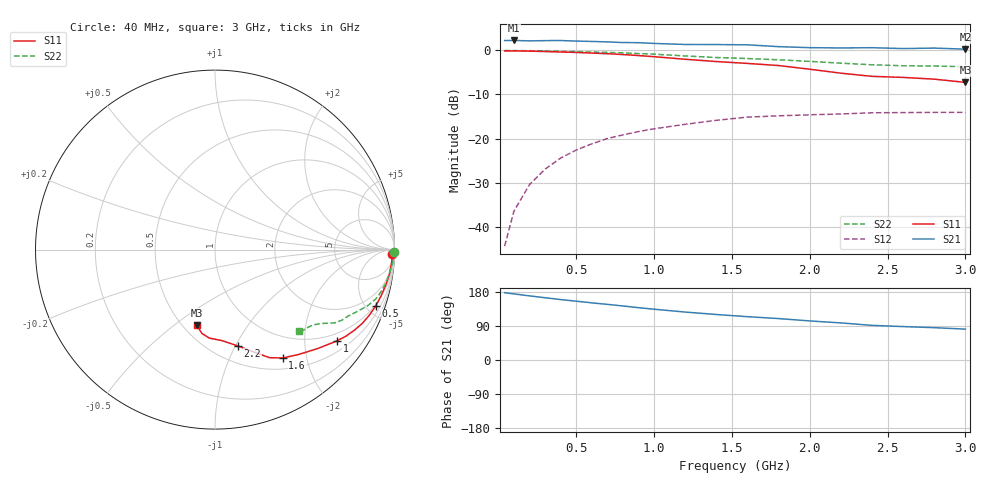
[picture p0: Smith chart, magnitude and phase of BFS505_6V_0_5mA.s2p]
! Filename:  BFS505G.S2P  Version:  4.0
! Philips part #: BFS505  Date: Jun 1994
! Bias condition: Vce=6V, Ic=0.5mA
#  MHz  S  MA  R  50
! Freq  S11  S21  S12  S22  !GUM [dB]
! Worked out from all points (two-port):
!   21 points, 40 MHz to 3 GHz, reference 50 ohm
!   highest |S21| = 2.27 dB at 100 MHz (marker M1); lowest = 0.3 dB at 3 GHz (marker M2)
!   |S21| within 3 dB of the highest: start of sweep to end of sweep
!   lowest |S11| = -7.3 dB at 3 GHz (marker M3), VSWR 2.53, Z = 29.2 - j30.4 ohm
!   |S11| at or under -10 dB: nowhere
!   |S22| runs from -3.7 to 0.0 dB; largest |S21 - S12| = 1.3
!   S11 on the Smith chart (normalised r, x): 40 MHz: 29, -63; 500 MHz: 0.90, -5.71; 1 GHz: 0.77, -2.82; 1.6 GHz: 0.66, -1.61; 2.2 GHz: 0.66, -1.02; 3 GHz: 0.58, -0.61
40  0.988 -1.5  1.295 177.7  0.006 88.8  0.998 -0.9
100  0.987 -3.9  1.298 174.4  0.015 85.7  0.997 -2.2
200  0.982 -7.8  1.284 169.2  0.03 82.3  0.992 -4.5
300  0.972 -11.7  1.292 164.3  0.045 79.3  0.984 -6.7
400  0.96 -15.7  1.296 159.5  0.06 76.9  0.976 -9.0
500  0.949 -19.4  1.277 155.2  0.074 74.3  0.969 -11.2
600  0.934 -23.1  1.265 150.8  0.087 72.0  0.959 -13.3
700  0.918 -26.6  1.25 146.8  0.1 69.9  0.949 -15.2
800  0.898 -29.9  1.229 142.6  0.11 67.6  0.938 -16.9
900  0.875 -33.4  1.225 138.1  0.12 64.9  0.922 -18.6
1000  0.849 -36.8  1.201 134.0  0.129 62.3  0.907 -20.1
1200  0.794 -44.0  1.169 126.5  0.145 57.2  0.866 -23.4
1400  0.748 -51.3  1.166 120.1  0.161 53.7  0.831 -26.3
1600  0.712 -58.0  1.158 114.3  0.175 50.4  0.809 -29.1
1800  0.674 -63.3  1.104 109.3  0.181 48.1  0.783 -31.4
2000  0.612 -69.0  1.075 103.1  0.186 45.6  0.751 -33.1
2200  0.552 -76.6  1.067 97.9  0.19 43.5  0.717 -35.1
2400  0.508 -85.8  1.074 91.4  0.196 41.4  0.687 -37.8
2600  0.494 -93.7  1.05 88.2  0.197 40.0  0.67 -40.9
2800  0.472 -99.0  1.063 85.3  0.198 40.6  0.665 -43.0
3000  0.434 -103.4  1.034 81.5  0.198 41.0  0.653 -44.0
